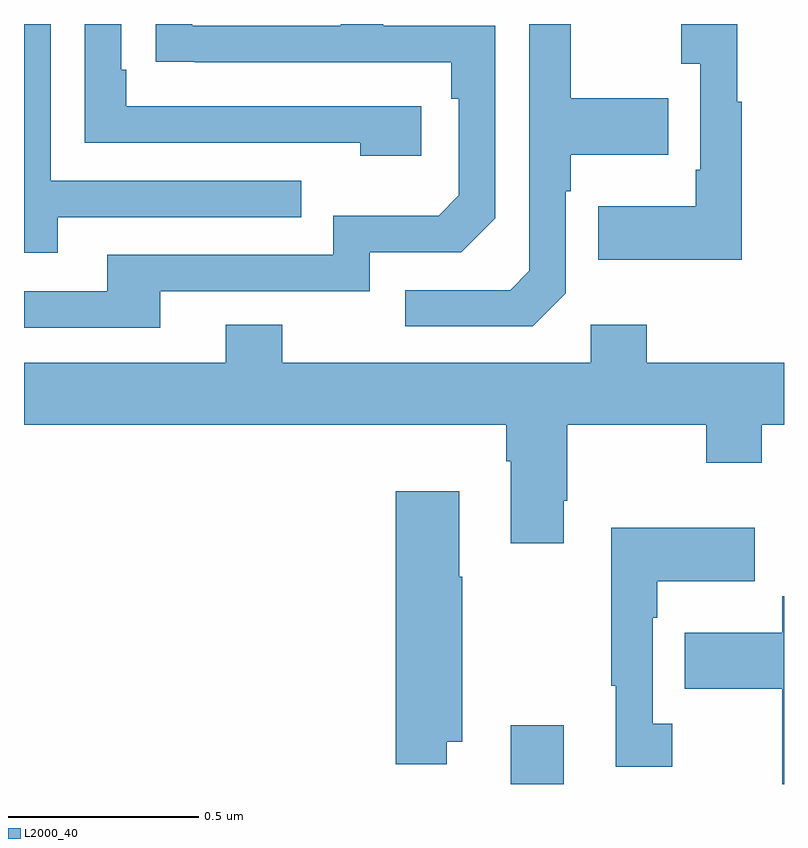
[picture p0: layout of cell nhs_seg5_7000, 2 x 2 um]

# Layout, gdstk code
import gdstk
lib = gdstk.Library(unit=1e-6, precision=1e-09)
def R(c, l, rs):  # rectangles x0, y0, x1, y1
    for r in rs: c.add(gdstk.rectangle(r[:2], r[2:], *l))
def P(c, l, *ps):  # polygons
    for p in ps: c.add(gdstk.Polygon(p, *l))
L2000_40 = (2000, 40)

nhs_seg5_7000 = lib.new_cell('nhs_seg5_7000')
R(nhs_seg5_7000, L2000_40, [(204.281,871.799,204.421,871.954)])
P(nhs_seg5_7000, L2000_40, [(203.089,873.291),(203.729,873.291),(203.729,873.387),(203.07,873.387),(203.07,873.799),(203,873.799),(203,873.197),(203.089,873.197)],
  [(204.046,873.582),(203.269,873.582),(203.269,873.679),(203.256,873.679),(203.256,873.799),(203.16,873.799),(203.16,873.486),(203.885,873.486),(203.885,873.452),(204.046,873.452)],
  [(203.359,873.096),(203.91,873.096),(203.91,873.198),(204.15,873.198),(204.24,873.288),(204.24,873.795),(203.945,873.795),(203.945,873.799),(203.833,873.799),(203.833,873.795),(203.443,873.795),(203.443,873.799),(203.347,873.799),(203.347,873.7),(203.449,873.7),(203.449,873.699),(204.124,873.699),(204.124,873.602),(204.144,873.602),(204.144,873.348),(204.091,873.295),(203.814,873.295),(203.814,873.192),(203.219,873.192),(203.219,873.096),(203,873.096),(203,873),(203.359,873)],
  [(204.426,873.09),(204.426,873.359),(204.439,873.359),(204.439,873.455),(204.695,873.455),(204.695,873.603),(204.439,873.603),(204.439,873.799),(204.33,873.799),(204.33,873.15),(204.279,873.099),(204.003,873.099),(204.003,873.003),(204.339,873.003)],
  [(204.889,873.595),(204.877,873.595),(204.877,873.799),(204.729,873.799),(204.729,873.695),(204.78,873.695),(204.78,873.415),(204.768,873.415),(204.768,873.319),(204.511,873.319),(204.511,873.179),(204.889,873.179)],
  [(204.421,872.545),(204.429,872.545),(204.429,872.744),(204.796,872.744),(204.796,872.645),(204.942,872.645),(204.942,872.744),(205,872.744),(205,872.908),(204.639,872.908),(204.639,873.007),(204.492,873.007),(204.492,872.908),(203.679,872.908),(203.679,873.007),(203.531,873.007),(203.531,872.908),(203,872.908),(203,872.744),(204.269,872.744),(204.269,872.648),(204.281,872.648),(204.281,872.433),(204.421,872.433)],
  [(204.112,871.91),(204.153,871.91),(204.153,872.345),(204.145,872.345),(204.145,872.569),(203.978,872.569),(203.978,871.851),(204.112,871.851)],
  [(204.706,871.958),(204.654,871.958),(204.654,872.237),(204.667,872.237),(204.667,872.333),(204.923,872.333),(204.923,872.473),(204.546,872.473),(204.546,872.057),(204.557,872.057),(204.557,871.845),(204.706,871.845)],
  [(205,872.293),(204.996,872.293),(204.996,872.197),(204.739,872.197),(204.739,872.05),(204.996,872.05),(204.996,871.799),(205,871.799)])

lib.write_gds('nhs_seg5_7000.gds')
